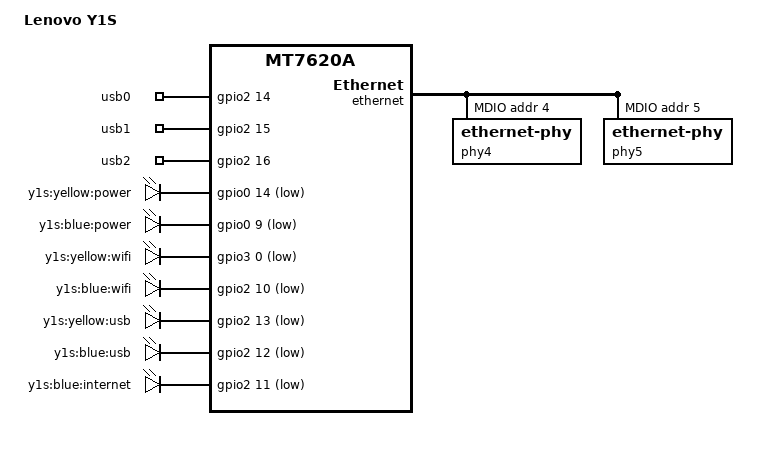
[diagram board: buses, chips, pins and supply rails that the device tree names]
/dts-v1/;

#include "Y1.dtsi"

/ {
	compatible = "lenovo,newifi-y1s", "lenovo,newifi-y1", "ralink,mt7620a-soc";
	model = "Lenovo Y1S";

	gpio_export {
		compatible = "gpio-export";
		#size-cells = <0>;
		/* GPIO 54、55、56 USB1、2、3 */
		usb0 {
			gpio-export,name = "usb0";
			gpio-export,output = <1>; // GPIOF_OUT_INIT_HIGH
			gpios = <&gpio2 14 GPIO_ACTIVE_HIGH>; // GPIO2:40+14=GPIO 54
		};
		usb1 {
			gpio-export,name = "usb1";
			gpio-export,output = <1>;
			gpios = <&gpio2 15 GPIO_ACTIVE_HIGH>;
		};
		usb2 {
			gpio-export,name = "usb2";
			gpio-export,output = <1>;
			gpios = <&gpio2 16 GPIO_ACTIVE_HIGH>;
		};
	};

	gpio-leds {
		compatible = "gpio-leds";

		power1 {
			label = "y1s:yellow:power";
			gpios = <&gpio0 14 GPIO_ACTIVE_LOW>;
		};

		power2 {
			label = "y1s:blue:power";
			gpios = <&gpio0 9 GPIO_ACTIVE_LOW>;
		};

		wlan1 {
			label = "y1s:yellow:wifi";
			gpios = <&gpio3 0 GPIO_ACTIVE_LOW>;
		};

		wlan2 {
			label = "y1s:blue:wifi";
			gpios = <&gpio2 10 GPIO_ACTIVE_LOW>;
		};

		usb1 {
			label = "y1s:yellow:usb";
			gpios = <&gpio2 13 GPIO_ACTIVE_LOW>;
		};

		usb2 {
			label = "y1s:blue:usb";
			gpios = <&gpio2 12 GPIO_ACTIVE_LOW>;
		};

		internet {
			label = "y1s:blue:internet";
			gpios = <&gpio2 11 GPIO_ACTIVE_LOW>;
		};
	};
};

&ethernet {
	status = "okay";
	mtd-mac-address = <&factory 0x4>;
	pinctrl-names = "default";
	pinctrl-0 = <&rgmii1_pins &rgmii2_pins &mdio_pins>;
	mediatek,portmap = "wllll";

	port@4 {
		status = "okay";
		phy-handle = <&phy4>;
		phy-mode = "rgmii";
	};

	port@5 {
		status = "okay";
		phy-handle = <&phy5>;
		phy-mode = "rgmii";
	};

	mdio-bus {
		status = "okay";

		phy4: ethernet-phy@4 {
			reg = <4>;
			phy-mode = "rgmii";
		};

		phy5: ethernet-phy@5 {
			reg = <5>;
			phy-mode = "rgmii";
		};
	};
};

&gsw {
	mediatek,port4 = "gmac";
};
